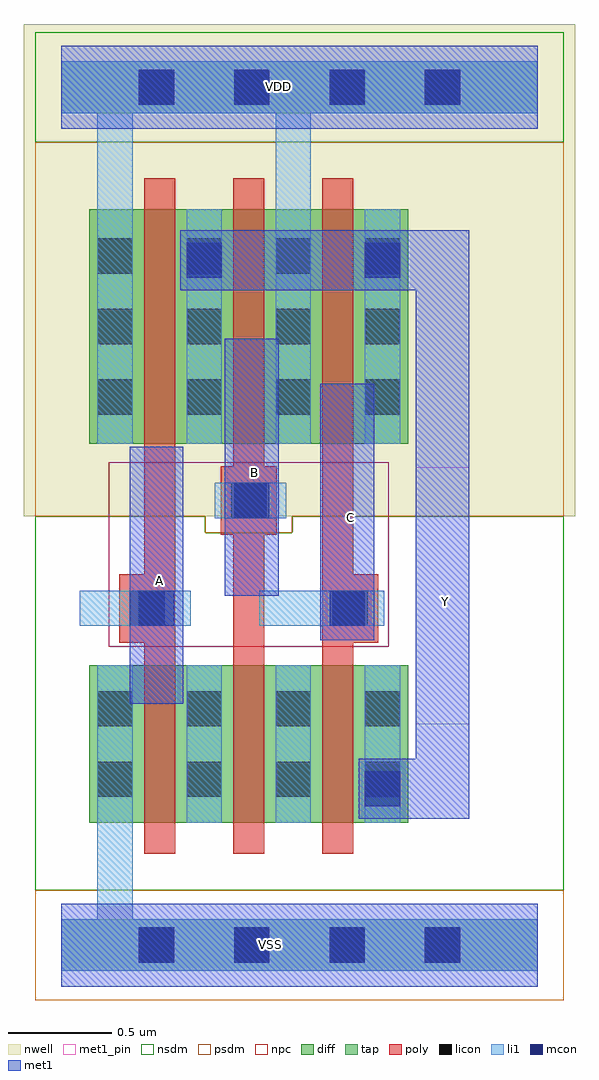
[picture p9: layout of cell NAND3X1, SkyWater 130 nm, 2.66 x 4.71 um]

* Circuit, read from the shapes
.subckt NAND3X1 A B C VDD VSS Y
XM1 n1 A VSS VSS sky130_fd_pr__nfet_01v8 w=0.76 l=0.15
XM2 n2 B n1 VSS sky130_fd_pr__nfet_01v8 w=0.76 l=0.15
XM3 Y C n2 VSS sky130_fd_pr__nfet_01v8 w=0.76 l=0.15
XM4 Y A VDD VDD sky130_fd_pr__pfet_01v8 w=1.13 l=0.15
XM5 VDD B Y VDD sky130_fd_pr__pfet_01v8 w=1.13 l=0.15
XM6 Y C VDD VDD sky130_fd_pr__pfet_01v8 w=1.13 l=0.15
.ends

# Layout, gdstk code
from math import pi, radians
import gdstk
lib = gdstk.Library(unit=1e-6, precision=1e-09)
def R(c, l, rs):  # rectangles x0, y0, x1, y1
    for r in rs: c.add(gdstk.rectangle(r[:2], r[2:], *l))
def A(c, l, x, y, w, h, nx, ny, dx, dy):  # array of equal rectangles
    R(c, l, [(x+i*dx, y+j*dy, x+i*dx+w, y+j*dy+h) for i in range(nx) for j in range(ny)])
def P(c, l, *ps):  # polygons
    for p in ps: c.add(gdstk.Polygon(p, *l))
nwell = (64, 20)
diff = (65, 20)
tap = (65, 44)
poly = (66, 20)
licon = (66, 44)
li1 = (67, 20)
mcon = (67, 44)
met1_pin = (68, 16)
met1 = (68, 20)
nsdm = (93, 44)
psdm = (94, 20)
npc = (95, 20)

pfet_01v8_cdns_716492285 = lib.new_cell('pfet_01v8_CDNS_71649228522151')
R(pfet_01v8_cdns_716492285, nwell, [(-0.405,-0.18,0.385,1.31)])
R(pfet_01v8_cdns_716492285, diff, [(-0.225,0,0,1.13), (0,0,0.15,1.13), (0.15,0,0.205,1.13)])
R(pfet_01v8_cdns_716492285, poly, [(0,-0.15,0.15,-0.095), (0,-0.095,0.15,0), (0,0,0.15,1.13), (0,1.13,0.15,1.225), (0,1.225,0.15,1.28)])
A(pfet_01v8_cdns_716492285, licon, -0.225, 0.14, 0.17, 0.17, 1, 3, 0, 0.34)
R(pfet_01v8_cdns_716492285, li1, [(-0.225,0,-0.055,1.13)])
R(pfet_01v8_cdns_716492285, psdm, [(-0.235,-0.13,0.215,1.26)])

nfet_01v8_cdns_716492285 = lib.new_cell('nfet_01v8_CDNS_71649228522152')
R(nfet_01v8_cdns_716492285, diff, [(-0.055,0,0,0.76), (0,0,0.15,0.76), (0.15,0,0.375,0.76)])
R(nfet_01v8_cdns_716492285, poly, [(0,-0.15,0.15,-0.095), (0,-0.095,0.15,0), (0,0,0.15,0.76), (0,0.76,0.15,0.855), (0,0.855,0.15,0.91)])
R(nfet_01v8_cdns_716492285, nsdm, [(-0.065,-0.13,0.385,0.89)])

c_nfet_01v8_cdns_716492285 = lib.new_cell('nfet_01v8_CDNS_71649228522146')
R(c_nfet_01v8_cdns_716492285, diff, [(-0.055,0,0,0.76), (0,0,0.15,0.76), (0.15,0,0.415,0.76)])
R(c_nfet_01v8_cdns_716492285, poly, [(0,-0.15,0.15,-0.095), (0,-0.095,0.15,0), (0,0,0.15,0.76), (0,0.76,0.15,0.855), (0,0.855,0.15,0.91)])
R(c_nfet_01v8_cdns_716492285, licon, [(0.205,0.125,0.375,0.295), (0.205,0.465,0.375,0.635)])
R(c_nfet_01v8_cdns_716492285, li1, [(0.205,0,0.375,0.76)])
R(c_nfet_01v8_cdns_716492285, nsdm, [(-0.065,-0.13,0.555,0.89)])

c_pfet_01v8_cdns_716492285 = lib.new_cell('pfet_01v8_CDNS_7164922852274')
R(c_pfet_01v8_cdns_716492285, nwell, [(-0.445,-0.18,0.555,1.31)])
R(c_pfet_01v8_cdns_716492285, diff, [(-0.265,0,0,1.13), (0,0,0.15,1.13), (0.15,0,0.375,1.13)])
R(c_pfet_01v8_cdns_716492285, poly, [(0,-0.15,0.15,-0.095), (0,-0.095,0.15,0), (0,0,0.15,1.13), (0,1.13,0.15,1.225), (0,1.225,0.15,1.28)])
A(c_pfet_01v8_cdns_716492285, licon, -0.225, 0.14, 0.17, 0.17, 1, 3, 0, 0.34)
A(c_pfet_01v8_cdns_716492285, licon, 0.205, 0.14, 0.17, 0.17, 1, 3, 0, 0.34)
R(c_pfet_01v8_cdns_716492285, li1, [(-0.225,0,-0.055,1.13), (0.205,0,0.375,1.13)])
R(c_pfet_01v8_cdns_716492285, psdm, [(-0.405,-0.13,0.385,1.26)])

c_pfet_01v8_cdns_716492285_ = lib.new_cell('pfet_01v8_CDNS_716492285224')
R(c_pfet_01v8_cdns_716492285_, nwell, [(-0.235,-0.18,0.595,1.31)])
R(c_pfet_01v8_cdns_716492285_, diff, [(-0.055,0,0,1.13), (0,0,0.15,1.13), (0.15,0,0.415,1.13)])
R(c_pfet_01v8_cdns_716492285_, poly, [(0,-0.15,0.15,-0.095), (0,-0.095,0.15,0), (0,0,0.15,1.13), (0,1.13,0.15,1.225), (0,1.225,0.15,1.28)])
A(c_pfet_01v8_cdns_716492285_, licon, 0.205, 0.14, 0.17, 0.17, 1, 3, 0, 0.34)
R(c_pfet_01v8_cdns_716492285_, li1, [(0.205,0,0.375,1.13)])
R(c_pfet_01v8_cdns_716492285_, psdm, [(-0.065,-0.13,0.555,1.26)])

c_nfet_01v8_cdns_716492285_ = lib.new_cell('nfet_01v8_CDNS_71649228522165')
R(c_nfet_01v8_cdns_716492285_, diff, [(-0.265,0,0,0.76), (0,0,0.15,0.76), (0.15,0,0.375,0.76)])
R(c_nfet_01v8_cdns_716492285_, poly, [(0,-0.15,0.15,-0.095), (0,-0.095,0.15,0), (0,0,0.15,0.76), (0,0.76,0.15,0.855), (0,0.855,0.15,0.91)])
R(c_nfet_01v8_cdns_716492285_, licon, [(-0.225,0.125,-0.055,0.295), (-0.225,0.465,-0.055,0.635)])
R(c_nfet_01v8_cdns_716492285_, li1, [(-0.225,0,-0.055,0.76)])
R(c_nfet_01v8_cdns_716492285_, nsdm, [(-0.405,-0.13,0.385,0.89)])

l1m1_c_cdns_716492285222 = lib.new_cell('L1M1_C_CDNS_716492285222')
R(l1m1_c_cdns_716492285222, li1, [(-0.085,-0.165,0.085,0.165)])
R(l1m1_c_cdns_716492285222, mcon, [(-0.085,-0.085,0.085,0.085)])
R(l1m1_c_cdns_716492285222, met1, [(-0.115,-0.145,0.115,0.145)])

licondiff_c_cdns_7164922 = lib.new_cell('LICONDIFF_C_CDNS_7164922852213')
R(licondiff_c_cdns_7164922, diff, [(-0.125,-0.145,0.125,0.145)])
R(licondiff_c_cdns_7164922, licon, [(-0.085,-0.085,0.085,0.085), (-0.085,-0.085,0.085,0.085)])

pyl1con_c_cdns_716492285 = lib.new_cell('PYL1CON_C_CDNS_716492285220')
R(pyl1con_c_cdns_716492285, poly, [(-0.135,-0.165,0.135,0.165)])
R(pyl1con_c_cdns_716492285, licon, [(-0.085,-0.085,0.085,0.085)])
R(pyl1con_c_cdns_716492285, npc, [(-0.185,-0.185,0.185,0.185)])

l1m1_c_cdns_716492285223 = lib.new_cell('L1M1_C_CDNS_716492285223')
R(l1m1_c_cdns_716492285223, li1, [(-0.165,-0.085,0.165,0.085)])
R(l1m1_c_cdns_716492285223, mcon, [(-0.085,-0.085,0.085,0.085)])
R(l1m1_c_cdns_716492285223, met1, [(-0.115,-0.145,0.115,0.145)])

nand3x1 = lib.new_cell('NAND3X1')
R(nand3x1, nwell, [(-0.18,2.07,2.48,4.305), (-0.18,3.875,2.48,4.445)])
R(nand3x1, licon, [(0.375,-0.085,0.545,0.085), (0.375,-0.085,0.545,0.085), (0.835,-0.085,1.005,0.085), (0.835,-0.085,1.005,0.085), (1.295,-0.085,1.465,0.085), (1.295,-0.085,1.465,0.085), (1.755,-0.085,1.925,0.085), (1.755,-0.085,1.925,0.085), (0.375,4.055,0.545,4.225), (0.375,4.055,0.545,4.225), (0.835,4.055,1.005,4.225), (0.835,4.055,1.005,4.225), (1.295,4.055,1.465,4.225), (1.295,4.055,1.465,4.225), (1.755,4.055,1.925,4.225), (1.755,4.055,1.925,4.225)])
R(nand3x1, mcon, [(0.375,-0.085,0.545,0.085), (0.375,-0.085,0.545,0.085), (0.835,-0.085,1.005,0.085), (0.835,-0.085,1.005,0.085), (1.295,-0.085,1.465,0.085), (1.295,-0.085,1.465,0.085), (1.755,-0.085,1.925,0.085), (1.755,-0.085,1.925,0.085), (0.375,4.055,0.545,4.225), (0.375,4.055,0.545,4.225), (0.835,4.055,1.005,4.225), (0.835,4.055,1.005,4.225), (1.295,4.055,1.465,4.225), (1.295,4.055,1.465,4.225), (1.755,4.055,1.925,4.225), (1.755,4.055,1.925,4.225)])
R(nand3x1, met1_pin, [(1.71,1.065,1.97,2.305), (0.33,1.165,0.59,2.405), (1.25,1.47,1.51,2.71), (0.79,1.685,1.05,2.925)])
R(nand3x1, nsdm, [(-0.125,3.875,2.425,4.405), (-0.125,3.875,2.425,4.405), (-0.125,3.93,2.425,4.35), (-0.125,3.93,2.425,4.35)])
P(nand3x1, nsdm, [(2.425,2.07),(1.115,2.07),(1.115,1.99),(0.695,1.99),(0.695,2.07),(-0.125,2.07),(-0.125,0.265),(2.425,0.265)])
R(nand3x1, psdm, [(-0.125,-0.265,2.425,0.265), (-0.125,-0.21,2.425,0.21)])
P(nand3x1, psdm, [(2.425,3.875),(-0.125,3.875),(-0.125,2.07),(0.695,2.07),(0.695,1.99),(1.115,1.99),(1.115,2.07),(2.425,2.07)])
R(nand3x1, npc, [(0.23,1.44,1.58,2.33)])
nand3x1.add(gdstk.FlexPath([(0.475,2.42),(0.475,1.35)], 0.15, ends="flush", simple_path=True, layer=66, datatype=20))  # poly
nand3x1.add(gdstk.FlexPath([(0.905,2.42),(0.905,1.35)], 0.15, ends="flush", simple_path=True, layer=66, datatype=20))  # poly
nand3x1.add(gdstk.FlexPath([(1.335,2.42),(1.335,1.35)], 0.15, ends="flush", simple_path=True, layer=66, datatype=20))  # poly
nand3x1.add(gdstk.FlexPath([(0.955,1.625),(1.56,1.625)], 0.17, ends="flush", simple_path=True, layer=67, datatype=20))  # li1
nand3x1.add(gdstk.FlexPath([(0.09,1.625),(0.58,1.625)], 0.17, ends="flush", simple_path=True, layer=67, datatype=20))  # li1
nand3x1.add(gdstk.FlexPath([(1.07,2.145),(0.74,2.145)], 0.17, ends="flush", simple_path=True, layer=67, datatype=20))  # li1
nand3x1.add(gdstk.FlexPath([(0.69,0.59),(0.69,1.35)], 0.17, ends="flush", simple_path=True, layer=67, datatype=20))  # li1
nand3x1.add(gdstk.FlexPath([(1.12,0.59),(1.12,1.35)], 0.17, ends="flush", simple_path=True, layer=67, datatype=20))  # li1
nand3x1.add(gdstk.FlexPath([(2.215,4.14),(0,4.14)], 0.25, ends=(0.085, 0), simple_path=True, layer=67, datatype=20))  # li1
nand3x1.add(gdstk.FlexPath([(2.215,4.14),(0,4.14)], 0.25, ends=(0.085, 0), simple_path=True, layer=67, datatype=20))  # li1
nand3x1.add(gdstk.FlexPath([(2.215,0),(0,0)], 0.25, ends=(0.085, 0), simple_path=True, layer=67, datatype=20))  # li1
nand3x1.add(gdstk.FlexPath([(2.215,0),(0,0)], 0.25, ends=(0.085, 0), simple_path=True, layer=67, datatype=20))  # li1
nand3x1.add(gdstk.FlexPath([(0.26,3.41),(0.26,4.14)], 0.17, ends="flush", simple_path=True, layer=67, datatype=20))  # li1
nand3x1.add(gdstk.FlexPath([(1.12,3.41),(1.12,4.14)], 0.17, ends="flush", simple_path=True, layer=67, datatype=20))  # li1
nand3x1.add(gdstk.FlexPath([(0.26,0.72),(0.26,0)], 0.17, ends="flush", simple_path=True, layer=67, datatype=20))  # li1
nand3x1.add(gdstk.FlexPath([(1.84,3.45),(1.84,0.62)], 0.26, ends="flush", simple_path=True, layer=68, datatype=20))  # met1
nand3x1.add(gdstk.FlexPath([(0.46,1.165),(0.46,2.405)], 0.26, ends="flush", simple_path=True, layer=68, datatype=20))  # met1
nand3x1.add(gdstk.FlexPath([(1.51,3.305),(0.65,3.305)], 0.29, ends=(0.145, 0), simple_path=True, layer=68, datatype=20))  # met1
nand3x1.add(gdstk.FlexPath([(1.825,3.305),(1.535,3.305)], 0.29, ends=(0.145, 0), simple_path=True, layer=68, datatype=20))  # met1
nand3x1.add(gdstk.FlexPath([(1.825,0.755),(1.535,0.755)], 0.29, ends=(0.145, 0), simple_path=True, layer=68, datatype=20))  # met1
nand3x1.add(gdstk.FlexPath([(1.825,0.62),(1.825,0.755)], 0.29, ends=(0, 0.145), simple_path=True, layer=68, datatype=20))  # met1
nand3x1.add(gdstk.FlexPath([(1.38,1.47),(1.38,2.71)], 0.26, ends="flush", simple_path=True, layer=68, datatype=20))  # met1
nand3x1.add(gdstk.FlexPath([(1.625,3.305),(1.51,3.305)], 0.29, ends=(0, 0.145), simple_path=True, layer=68, datatype=20))  # met1
nand3x1.add(gdstk.FlexPath([(0.92,1.685),(0.92,2.925)], 0.26, ends="flush", simple_path=True, layer=68, datatype=20))  # met1
nand3x1.add(gdstk.FlexPath([(1.825,3.17),(1.825,3.305)], 0.29, ends=(0, 0.145), simple_path=True, layer=68, datatype=20))  # met1
nand3x1.add(gdstk.FlexPath([(0,0),(2.3,0)], 0.4, ends="flush", simple_path=True, layer=68, datatype=20))  # met1
nand3x1.add(gdstk.FlexPath([(0,4.14),(2.3,4.14)], 0.4, ends="flush", simple_path=True, layer=68, datatype=20))  # met1
nand3x1.add(gdstk.FlexPath([(0,4.14),(2.3,4.14)], 0.4, ends="flush", simple_path=True, layer=68, datatype=16))  # met1_pin
nand3x1.add(gdstk.FlexPath([(0,0),(2.3,0)], 0.4, ends="flush", simple_path=True, layer=68, datatype=16))  # met1_pin
nand3x1.add(gdstk.FlexPath([(0,0),(2.3,0)], 0.4, ends="flush", simple_path=True, layer=68, datatype=16))  # met1_pin
nand3x1.add(gdstk.FlexPath([(0,4.14),(2.3,4.14)], 0.4, ends="flush", simple_path=True, layer=68, datatype=16))  # met1_pin
nand3x1.add(gdstk.FlexPath([(0,4.14),(2.3,4.14)], 0.25, ends="flush", simple_path=True, layer=65, datatype=44))  # tap
nand3x1.add(gdstk.FlexPath([(0,0),(2.3,0)], 0.25, ends="flush", simple_path=True, layer=65, datatype=44))  # tap
nand3x1.add(gdstk.FlexPath([(0,4.14),(2.3,4.14)], 0.25, ends="flush", simple_path=True, layer=65, datatype=44))  # tap
nand3x1.add(gdstk.FlexPath([(0,0),(2.3,0)], 0.25, ends="flush", simple_path=True, layer=65, datatype=44))  # tap
nand3x1.add(gdstk.Reference(pfet_01v8_cdns_716492285, (0.98,2.42), rotation=pi, x_reflection=True))
nand3x1.add(gdstk.Reference(nfet_01v8_cdns_716492285, (0.83,0.59)))
nand3x1.add(gdstk.Reference(c_nfet_01v8_cdns_716492285, (1.26,0.59)))
nand3x1.add(gdstk.Reference(c_pfet_01v8_cdns_716492285, (0.4,2.42)))
nand3x1.add(gdstk.Reference(c_pfet_01v8_cdns_716492285_, (1.26,2.42)))
nand3x1.add(gdstk.Reference(c_nfet_01v8_cdns_716492285_, (0.4,0.59)))
nand3x1.add(gdstk.Reference(l1m1_c_cdns_716492285222, (1.55,0.755)))
nand3x1.add(gdstk.Reference(l1m1_c_cdns_716492285222, (1.55,3.305)))
nand3x1.add(gdstk.Reference(l1m1_c_cdns_716492285222, (0.69,3.305)))
nand3x1.add(gdstk.Reference(licondiff_c_cdns_7164922, (1.12,1.14)))
nand3x1.add(gdstk.Reference(licondiff_c_cdns_7164922, (0.69,1.14)))
nand3x1.add(gdstk.Reference(licondiff_c_cdns_7164922, (1.12,0.8)))
nand3x1.add(gdstk.Reference(licondiff_c_cdns_7164922, (0.69,0.8)))
nand3x1.add(gdstk.Reference(pyl1con_c_cdns_716492285, (1.395,1.625), rotation=pi, x_reflection=True))
nand3x1.add(gdstk.Reference(pyl1con_c_cdns_716492285, (0.415,1.625), rotation=pi, x_reflection=True))
nand3x1.add(gdstk.Reference(pyl1con_c_cdns_716492285, (0.905,2.145), rotation=pi, x_reflection=True))
nand3x1.add(gdstk.Reference(l1m1_c_cdns_716492285223, (1.38,1.625), x_reflection=True))
nand3x1.add(gdstk.Reference(l1m1_c_cdns_716492285223, (0.92,2.145), x_reflection=True))
nand3x1.add(gdstk.Reference(l1m1_c_cdns_716492285223, (0.46,1.625), x_reflection=True))
nand3x1.add(gdstk.Label('VSS', (1.01,0.005), layer=68, texttype=5))
nand3x1.add(gdstk.Label('Y', (1.855,1.66), layer=68, texttype=5))
nand3x1.add(gdstk.Label('B', (0.935,2.28), layer=68, texttype=5))
nand3x1.add(gdstk.Label('C', (1.395,2.065), layer=68, texttype=5))
nand3x1.add(gdstk.Label('A', (0.475,1.76), layer=68, texttype=5))
nand3x1.add(gdstk.Label('VDD', (1.05,4.145), layer=68, texttype=5))

lib.write_gds('NAND3X1.gds')
